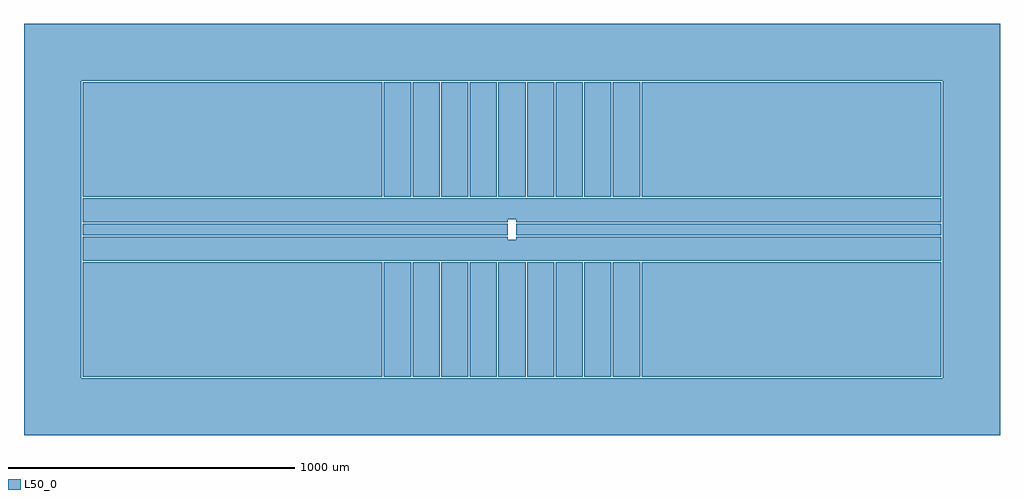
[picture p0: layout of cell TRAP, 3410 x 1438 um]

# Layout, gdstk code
import gdstk
lib = gdstk.Library(unit=1e-6, precision=1e-09)
def R(c, l, rs):  # rectangles x0, y0, x1, y1
    for r in rs: c.add(gdstk.rectangle(r[:2], r[2:], *l))
def A(c, l, x, y, w, h, nx, ny, dx, dy):  # array of equal rectangles
    R(c, l, [(x+i*dx, y+j*dy, x+i*dx+w, y+j*dy+h) for i in range(nx) for j in range(ny)])
def P(c, l, *ps):  # polygons
    for p in ps: c.add(gdstk.Polygon(p, *l))
L50_0 = (50, 0)

trap = lib.new_cell('TRAP')
A(trap, L50_0, -447.5, -514, 95, 400, 9, 2, 100, 628)
R(trap, L50_0, [(-1500,-514,-452.5,-114), (452.5,-514,1500,-114), (-1500,-20,-15,20), (15,-20,1500,20), (-1500,114,-452.5,514), (452.5,114,1500,514)])
P(trap, L50_0, [(1705,-719),(1705,719),(-1705,719),(-1705,-519),(-1505,-519),(-1505,519),(1505,519),(1505,-519),(-1505,-519),(-1705,-519),(-1705,-719)],
  [(1500,109),(-1500,109),(-1500,25),(-15,25),(-15,35),(15,35),(15,25),(1500,25)],
  [(1500,-25),(15,-25),(15,-35),(-15,-35),(-15,-25),(-1500,-25),(-1500,-109),(1500,-109)])

lib.write_gds('TRAP.gds')
